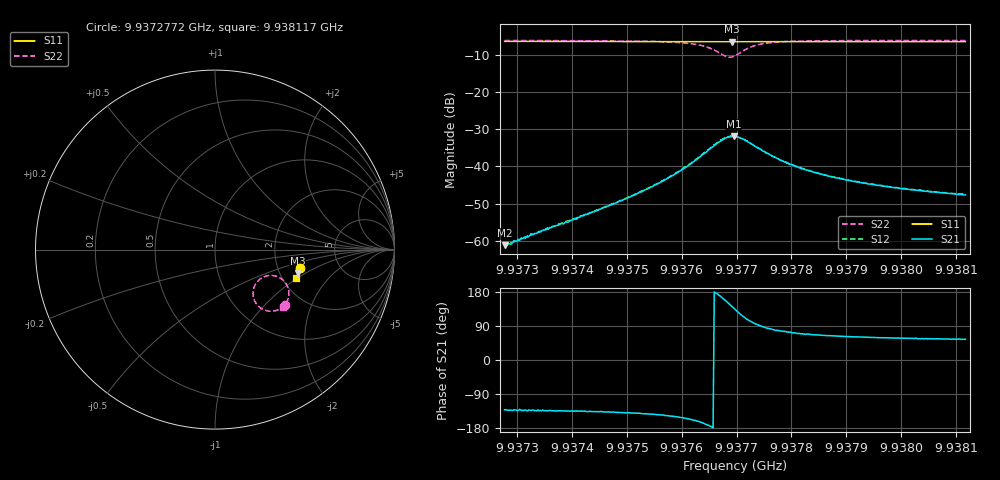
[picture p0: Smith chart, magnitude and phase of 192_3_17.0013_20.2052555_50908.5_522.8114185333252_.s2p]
#  HZ  S  RI  R  50.00
! Rohde & Schwarz Vector Network Analyzer
! Rohde-Schwarz,ZNB20-2Port,1311601062101988,3.16
! Created: UTC 3/20/2024, 11:00:43 PM
! freq[Hz]  re:S11  im:S11  re:S21  im:S21  re:S12  im:S12  re:S22  im:S22
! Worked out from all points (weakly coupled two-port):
!   401 points, 9.9372772 GHz to 9.938117 GHz, reference 50 ohm
!   highest |S21| = -31.92 dB at 9.937695 GHz (marker M1); lowest = -61.3 dB at 9.9372772 GHz (marker M2)
!   lowest |S11| = -6.4 dB at 9.9376908 GHz (marker M3), VSWR 2.84, Z = 125 - j42.5 ohm
!   |S11| at or under -10 dB: nowhere
!   |S22| runs from -10.6 to -6.0 dB; largest |S21 - S12| = 0.0013
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9.93727716e9  0.4721 -0.105  -0.000569 -0.00065  -0.000584 -0.00061  0.3902 -0.3089
9.93729816e9  0.4717 -0.1065  -0.000653 -0.000723  -0.000697 -0.00073  0.3884 -0.3108
9.93741783e9  0.469 -0.1146  -0.00152 -0.00153  -0.00156 -0.00151  0.3752 -0.3219
9.93747662e9  0.4679 -0.1185  -0.00231 -0.00212  -0.00243 -0.0021  0.3651 -0.3288
9.93752491e9  0.4667 -0.1219  -0.0035 -0.00283  -0.00362 -0.00286  0.3526 -0.3351
9.9375585e9  0.4659 -0.1241  -0.00485 -0.00348  -0.005 -0.00346  0.3393 -0.3398
9.93760259e9  0.4646 -0.1273  -0.00826 -0.00424  -0.00845 -0.00419  0.3089 -0.3436
9.93764248e9  0.4628 -0.1299  -0.0149 -0.00291  -0.0153 -0.00277  0.255 -0.3257
9.93765718e9  0.462 -0.1306  -0.0186 -0.00042  -0.019 0.00017  0.2285 -0.2992
9.93767187e9  0.4612 -0.1309  -0.0216 0.00513  -0.022 0.00617  0.2119 -0.2499
9.93768237e9  0.4608 -0.131  -0.022 0.011  -0.0219 0.0119  0.22 -0.2041
9.93769077e9  0.4607 -0.131  -0.0199 0.0154  -0.0197 0.0166  0.243 -0.1711
9.93769497e9  0.4608 -0.131  -0.0183 0.0175  -0.0178 0.0183  0.259 -0.1589
9.93769707e9  0.4608 -0.1309  -0.0175 0.0183  -0.0169 0.0192  0.2677 -0.154
9.93770756e9  0.4612 -0.1311  -0.012 0.0209  -0.0113 0.0214  0.3133 -0.1439
9.93772226e9  0.4615 -0.1321  -0.00528 0.0204  -0.00471 0.0207  0.3635 -0.1581
9.93774536e9  0.4618 -0.134  0.000337 0.0167  0.000792 0.0167  0.4005 -0.1976
9.93779155e9  0.4613 -0.1376  0.00321 0.0109  0.00331 0.0106  0.4118 -0.2498
9.93783774e9  0.4602 -0.1409  0.00332 0.00783  0.00349 0.0078  0.407 -0.2753
9.93790072e9  0.4587 -0.1451  0.00308 0.00578  0.00323 0.00577  0.3993 -0.294
9.9379784e9  0.4567 -0.1503  0.00278 0.00451  0.00289 0.00452  0.3912 -0.3076
9.93811697e9  0.4532 -0.1593  0.00239 0.00338  0.00249 0.00338  0.3799 -0.3224
